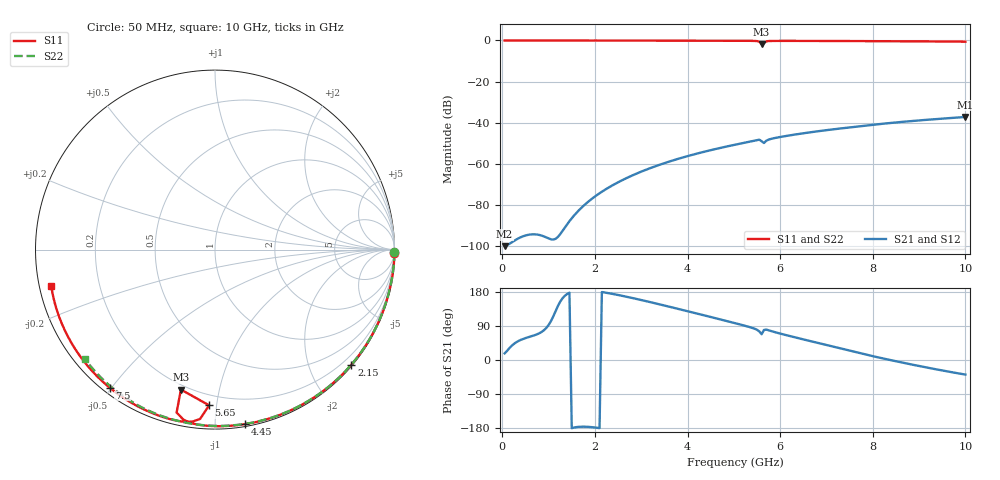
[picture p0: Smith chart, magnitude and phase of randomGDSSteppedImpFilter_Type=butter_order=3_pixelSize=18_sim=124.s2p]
! freq	dB(S11)	phase(S11)	dB(S12)	phase(S12)
!  dB(S21)	phase(S21)	dB(S22)	phase(S22)
!S-par simulation data
#  GHz  S  DB  R 50
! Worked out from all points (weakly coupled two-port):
!   200 points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, 50 MHz to 10 GHz, reference 50 ohm
!   highest |S21| = -37.27 dB at 10 GHz (marker M1); lowest = -100.2 dB at 50 MHz (marker M2)
!   lowest |S11| = -1.9 dB at 5.6 GHz (marker M3), VSWR 9.13, Z = 8.79 - j38.5 ohm
!   |S11| at or under -10 dB: nowhere
!   |S22| runs from -0.5 to 0.0 dB; largest |S21 - S12| = 0
!   S11 on the Smith chart (normalised r, x): 50 MHz: open; 2.15 GHz: 0.02, -2.74; 4.45 GHz: 0.02, -1.19; 5.65 GHz: 0.14, -0.95; 7.5 GHz: 0.02, -0.49; 10 GHz: 0.03, -0.11
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0.05  -0.00 -1.0  -100.17 17.5  -100.17 17.5  -0.00 -0.8
0.85  -0.02 -16.1  -95.02 74.2  -95.02 74.2  -0.02 -13.7
1.75  -0.04 -32.8  -80.59 -175.9  -80.59 -175.9  -0.04 -28.0
1.8  -0.04 -33.7  -79.58 -176.1  -79.58 -176.1  -0.04 -28.8
2.15  -0.05 -40.1  -73.66 179.4  -73.66 179.4  -0.04 -34.2
2.7  -0.06 -50.0  -66.84 166.5  -66.84 166.5  -0.06 -42.7
3.4  -0.08 -62.3  -60.51 146.8  -60.51 146.8  -0.07 -53.2
4.45  -0.12 -80.2  -53.69 115.1  -53.69 115.1  -0.10 -68.4
5.05  -0.14 -90.4  -50.65 96.5  -50.65 96.5  -0.12 -76.8
5.35  -0.18 -96.1  -49.24 86.5  -49.24 86.5  -0.13 -81.0
5.5  -0.32 -100.5  -48.50 79.7  -48.50 79.7  -0.13 -83.0
5.55  -0.61 -103.3  -48.32 75.4  -48.32 75.4  -0.14 -83.7
5.6  -1.91 -103.7  -49.09 68.0  -49.09 68.0  -0.14 -84.3
5.65  -1.23 -92.2  -49.93 79.2  -49.93 79.2  -0.14 -85.0
5.7  -0.47 -95.0  -48.83 80.3  -48.83 80.3  -0.14 -85.7
5.8  -0.25 -98.9  -47.95 76.5  -47.95 76.5  -0.15 -87.0
6.1  -0.20 -105.1  -46.61 66.6  -46.61 66.6  -0.16 -91.0
6.7  -0.23 -114.9  -44.56 48.5  -44.56 48.5  -0.19 -98.9
7.5  -0.29 -127.4  -42.36 24.8  -42.36 24.8  -0.24 -109.1
8.35  -0.37 -140.5  -40.25 0.6  -40.25 0.6  -0.31 -119.6
9.2  -0.46 -154.0  -38.58 -20.7  -38.58 -20.7  -0.39 -130.0
10  -0.59 -167.6  -37.27 -38.5  -37.27 -38.5  -0.47 -139.7
